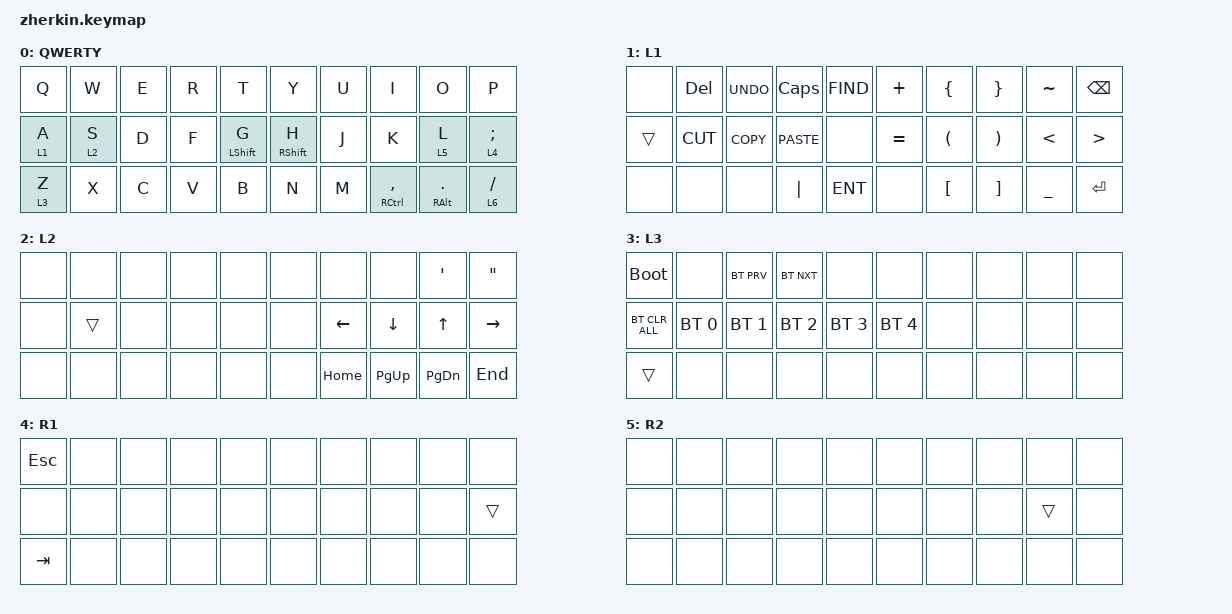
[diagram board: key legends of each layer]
#include <behaviors.dtsi>
#include <dt-bindings/zmk/keys.h>
#include <dt-bindings/zmk/bt.h>
#include <dt-bindings/zmk/outputs.h>

#define  QWERTY 0
#define  L1 1
#define  L2 2
#define  L3 3
#define  R1 4
#define  R2 5
#define  R3 6

&lt {
    tapping-term-ms = <180>;     // LAYER TAP SPEED default=200
};

&mt {
    tapping-term-ms = <180>;    // MOD-TAP SPEED default=200
};

/ {

    combos {
        compatible = "zmk,combos";
        combo_space {
            timeout-ms = <50>;
            key-positions = <10 19>;
            bindings = <&kp SPACE>;
        };
 };

    keymap {
        compatible = "zmk,keymap";

           QWERTY  {
            bindings = <
                &kp Q      &kp W     	&kp E     	&kp R     	&kp T    	    &kp Y     	    &kp U     	&kp I     	    &kp O     	   &kp P
                &lt 1 A    &lt 2 S      &kp D     	&kp F     	&mt LSHIFT G    &mt RSHIFT H    &kp J     	&kp K     	    &lt 5 L        &lt 4 SEMI
                &lt 3 Z    &kp X     	&kp C     	&kp V     	&kp B    	    &kp N     	    &kp M     	&mt RCTRL COMMA &mt RALT DOT   &lt 6 FSLH
            >;
        };
                L1 {
            bindings = <
                &none    &kp DEL    &kp K_UNDO  &kp CAPS     &kp K_FIND      &kp PLUS    &kp LBRC    &kp RBRC    &kp TILDE   &kp BSPC 
                &trans   &kp K_CUT  &kp K_COPY  &kp K_PASTE  &none           &kp EQUAL   &kp LPAR    &kp RPAR    &kp LT      &kp GT 
                &none    &none      &none       &kp PIPE     &kp ENT         &none       &kp LBKT    &kp RBKT    &kp UNDER   &kp RET 
            >;
        };
                L2 {
            bindings = <
                &none    &none    &none    &none    &none    &none     &none    &none       &kp SQT        &kp DQT
                &none    &trans   &none    &none    &none    &none     &kp LEFT &kp DOWN    &kp UP         &kp RIGHT 
                &none    &none    &none    &none    &none    &none     &kp HOME &kp PG_UP   &kp PG_DN      &kp END
            >;
        };
                L3 {
            bindings = <
                &bootloader     &none           &bt BT_PRV      &bt BT_NXT    &none           &none           &none    &none    &none    &none 
                &bt BT_CLR_ALL  &bt BT_SEL 0    &bt BT_SEL 1    &bt BT_SEL 2  &bt BT_SEL 3    &bt BT_SEL 4    &none    &none    &none    &none     
                &trans          &none           &none           &none         &none           &none           &none    &none    &none    &none
            >;
        };
                R1 {
            bindings = <
                &kp ESC  &none    &none    &none    &none    &none     &none    &none    &none    &none 
                &none    &none    &none    &none    &none    &none     &none    &none    &none    &trans 
                &kp TAB  &none    &none    &none    &none    &none     &none    &none    &none    &none 
            >;
        };
                R2 {
            bindings = <
                &none    &none    &none    &none    &none    &none     &none    &none    &none    &none 
                &none    &none    &none    &none    &none    &none     &none    &none    &trans   &none 
                &none    &none    &none    &none    &none    &none     &none    &none    &none    &none 
            >;
        };
                R3 {
            bindings = <
                &none    &none    &none    &none    &none    &none     &none    &none    &none    &none 
                &none    &none    &none    &none    &none    &none     &none    &none    &none    &none 
                &none    &none    &none    &none    &none    &none     &none    &none    &none    &trans
        };
    };
};
